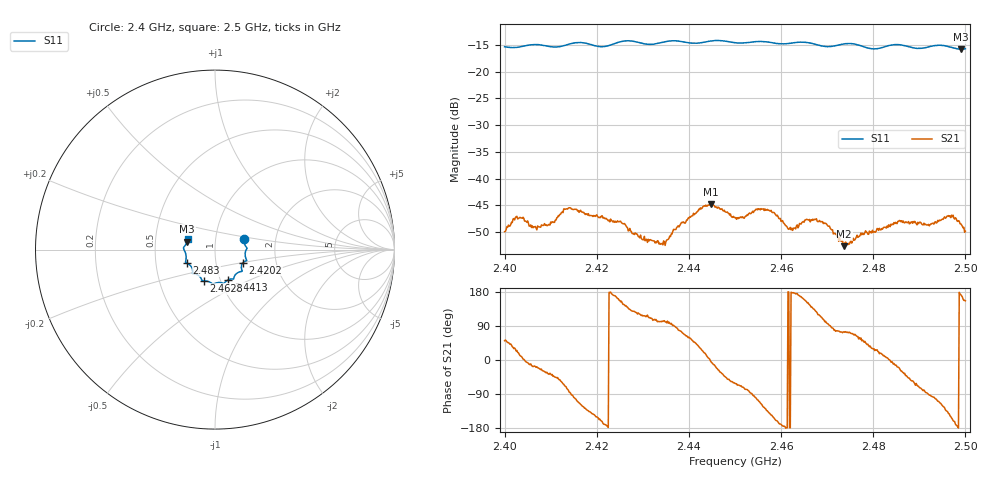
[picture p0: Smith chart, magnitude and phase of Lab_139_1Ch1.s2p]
# Hz S RI R
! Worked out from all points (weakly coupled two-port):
!   601 points, 2.4 GHz to 2.5 GHz, reference 50 ohm
!   highest |S21| = -44.81 dB at 2.4448 GHz (marker M1); lowest = -52.6 dB at 2.4737 GHz (marker M2)
!   lowest |S11| = -15.8 dB at 2.499 GHz (marker M3), VSWR 1.39, Z = 36.4 + j3.36 ohm
!   |S11| at or under -10 dB: start of sweep to end of sweep
!   S12 and S22 are empty: the file has one direction only
!   S11 on the Smith chart (normalised r, x): 2.4 GHz: 1.37, +0.16; 2.4202 GHz: 1.35, -0.20; 2.4413 GHz: 1.09, -0.38; 2.4628 GHz: 0.83, -0.30; 2.483 GHz: 0.72, -0.11; 2.5 GHz: 0.73, +0.09
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2.4e9  0.1608 0.0572  0.00202 0.00248  0 0  0 0
2.402333e9  0.1646 0.0315  0.00378 0.00209  0 0  0 0
2.407333e9  0.178 0.00639  0.00332 -0.00127  0 0  0 0
2.413333e9  0.1706 -0.0457  0.00174 -0.00492  0 0  0 0
2.416667e9  0.176 -0.0616  -0.00236 -0.00428  0 0  0 0
2.420167e9  0.156 -0.0728  -0.00388 -0.00212  0 0  0 0
2.433333e9  0.108 -0.1485  -0.000547 0.00256  0 0  0 0
2.435167e9  0.105 -0.16  -0.000375 0.00264  0 0  0 0
2.441333e9  0.0745 -0.168  0.00327 0.00338  0 0  0 0
2.444833e9  0.0528 -0.1858  0.00572 -0.000528  0 0  0 0
2.45e9  0.0292 -0.1836  0.00205 -0.0038  0 0  0 0
2.457e9  -0.0168 -0.1885  -0.00358 -0.00372  0 0  0 0
2.462833e9  -0.063 -0.1749  -0.00346 0.000196  0 0  0 0
2.466667e9  -0.0744 -0.1675  -0.00311 0.00263  0 0  0 0
2.47e9  -0.0925 -0.1435  -0.000424 0.00367  0 0  0 0
2.473667e9  -0.1218 -0.1342  0.00063 0.00225  0 0  0 0
2.483e9  -0.155 -0.0768  0.00359 0.000372  0 0  0 0
2.483333e9  -0.1571 -0.0759  0.00369 0.000122  0 0  0 0
2.492167e9  -0.1706 -0.00537  -0.000161 -0.00362  0 0  0 0
2.496833e9  -0.1674 0.0218  -0.00372 -0.00221  0 0  0 0
2.499e9  -0.1555 0.045  -0.00375 0.000504  0 0  0 0
2.5e9  -0.1527 0.0583  -0.00295 0.00131  0 0  0 0
